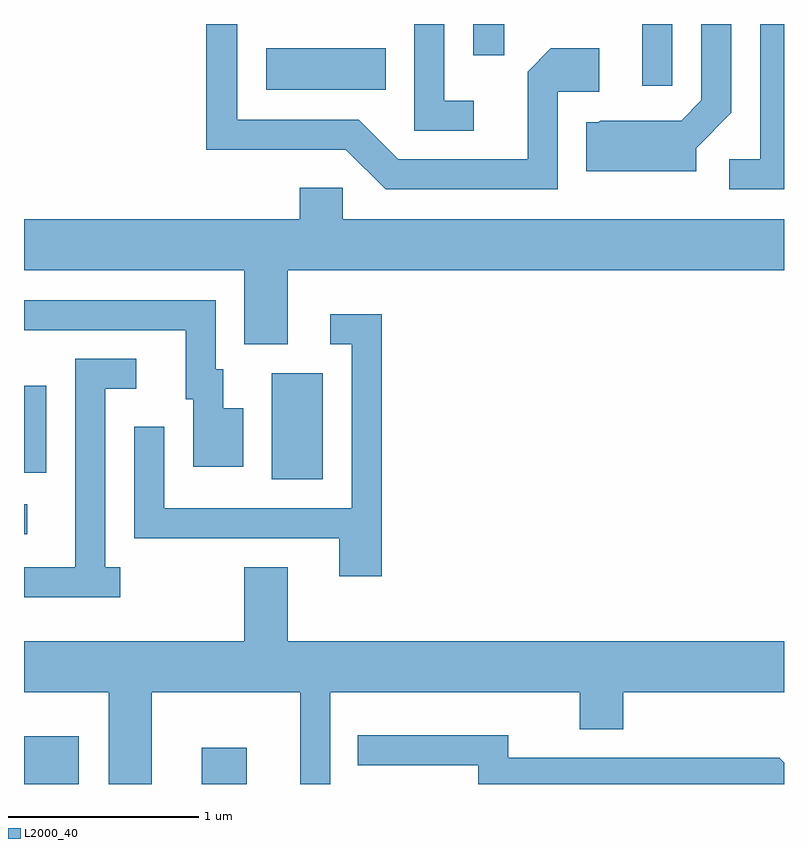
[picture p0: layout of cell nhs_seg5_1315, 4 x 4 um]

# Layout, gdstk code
import gdstk
lib = gdstk.Library(unit=1e-6, precision=1e-09)
def R(c, l, rs):  # rectangles x0, y0, x1, y1
    for r in rs: c.add(gdstk.rectangle(r[:2], r[2:], *l))
def P(c, l, *ps):  # polygons
    for p in ps: c.add(gdstk.Polygon(p, *l))
L2000_40 = (2000, 40)

nhs_seg5_1315 = lib.new_cell('nhs_seg5_1315')
R(nhs_seg5_1315, L2000_40, [(223.611,1474.072,223.899,1474.324), (224.546,1474.072,224.784,1474.264), (223.611,1475.386,223.628,1475.544), (224.916,1475.676,225.184,1476.234), (223.611,1475.711,223.729,1476.169), (224.886,1477.726,225.514,1477.944), (226.866,1477.748,227.024,1478.072), (225.976,1477.908,226.139,1478.072)])
P(nhs_seg5_1315, L2000_40, [(225.978,1477.669),(225.824,1477.669),(225.824,1478.072),(225.666,1478.072),(225.666,1477.511),(225.978,1477.511)],
  [(227.149,1477.419),(227.334,1477.604),(227.334,1478.072),(227.176,1478.072),(227.176,1477.672),(227.069,1477.564),(226.644,1477.564),(226.634,1477.554),(226.571,1477.554),(226.571,1477.296),(227.149,1477.296)],
  [(226.419,1477.716),(226.639,1477.716),(226.639,1477.944),(226.384,1477.944),(226.261,1477.822),(226.261,1477.359),(225.582,1477.359),(225.372,1477.569),(224.734,1477.569),(224.734,1478.072),(224.571,1478.072),(224.571,1477.411),(225.304,1477.411),(225.514,1477.201),(226.419,1477.201)],
  [(227.611,1478.072),(227.486,1478.072),(227.486,1477.359),(227.323,1477.359),(227.323,1477.201),(227.611,1477.201)],
  [(224.999,1476.776),(227.611,1476.776),(227.611,1477.044),(225.289,1477.044),(225.289,1477.209),(225.061,1477.209),(225.061,1477.044),(223.611,1477.044),(223.611,1476.776),(224.771,1476.776),(224.771,1476.386),(224.999,1476.386)],
  [(224.764,1476.049),(224.659,1476.049),(224.659,1476.254),(224.619,1476.254),(224.619,1476.619),(223.611,1476.619),(223.611,1476.461),(224.461,1476.461),(224.461,1476.096),(224.501,1476.096),(224.501,1475.741),(224.764,1475.741)],
  [(225.494,1476.544),(225.223,1476.544),(225.223,1476.386),(225.336,1476.386),(225.336,1475.524),(224.349,1475.524),(224.349,1475.953),(224.191,1475.953),(224.191,1475.366),(225.271,1475.366),(225.271,1475.166),(225.494,1475.166)],
  [(224.118,1475.214),(224.039,1475.214),(224.039,1476.151),(224.203,1476.151),(224.203,1476.309),(223.881,1476.309),(223.881,1475.214),(223.611,1475.214),(223.611,1475.056),(224.118,1475.056)],
  [(224.284,1474.556),(225.066,1474.556),(225.066,1474.072),(225.224,1474.072),(225.224,1474.556),(226.536,1474.556),(226.536,1474.361),(226.764,1474.361),(226.764,1474.556),(227.611,1474.556),(227.611,1474.824),(224.999,1474.824),(224.999,1475.214),(224.771,1475.214),(224.771,1474.824),(223.611,1474.824),(223.611,1474.556),(224.056,1474.556),(224.056,1474.072),(224.284,1474.072)],
  [(227.611,1474.185),(227.587,1474.209),(226.159,1474.209),(226.159,1474.329),(225.368,1474.329),(225.368,1474.171),(226.001,1474.171),(226.001,1474.072),(227.611,1474.072)])

lib.write_gds('nhs_seg5_1315.gds')
